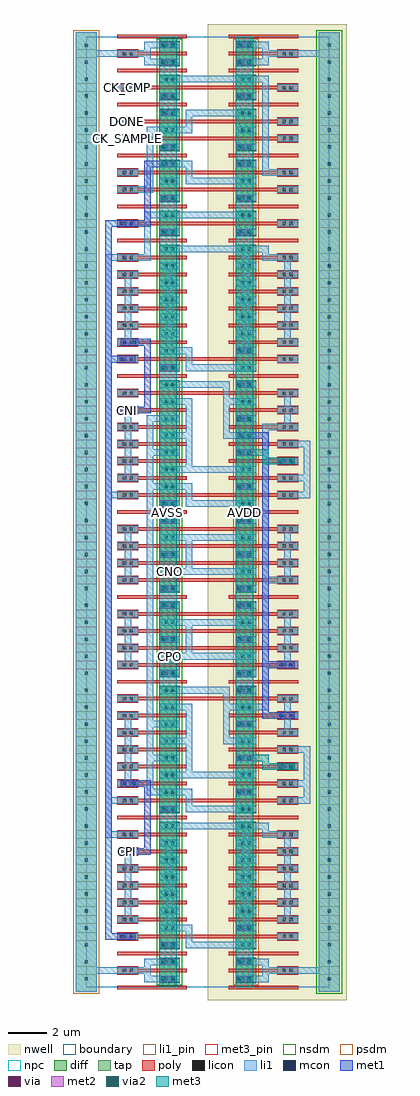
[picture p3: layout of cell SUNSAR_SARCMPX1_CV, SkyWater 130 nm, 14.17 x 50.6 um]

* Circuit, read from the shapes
.subckt SUNSAR_SARCMPX1_CV AVDD AVSS CK_CMP CK_SAMPLE CNI CNO CPI CPO DONE
XM1 AVSS AVSS AVSS AVSS sky130_fd_pr__nfet_01v8 w=1.08 l=0.18 m=2
XM2 SUNSAR_SARKICKHX1_CV_22/SUNSAR_NCHDL_10/D SUNSAR_IVX1_CV_16/A AVSS AVSS sky130_fd_pr__nfet_01v8 w=1.08 l=0.18
XM3 SUNSAR_SARKICKHX1_CV_22/SUNSAR_NCHDL_10/D CPI SUNSAR_SARKICKHX1_CV_22/SUNSAR_NCHDL_10/D AVSS sky130_fd_pr__nfet_01v8 w=1.08 l=0.18 m=5
XM4 AVDD SUNSAR_SARCMPHX1_CV_19/CK SUNSAR_SARKICKHX1_CV_22/SUNSAR_NCHDL_10/D AVSS sky130_fd_pr__nfet_01v8 w=1.08 l=0.18
XM5 SUNSAR_SARCMPHX1_CV_19/N1 SUNSAR_SARCMPHX1_CV_19/CK AVSS AVSS sky130_fd_pr__nfet_01v8 w=1.08 l=0.18 m=2
XM6 SUNSAR_SARCMPHX1_CV_21/N2 CPI SUNSAR_SARCMPHX1_CV_19/N1 AVSS sky130_fd_pr__nfet_01v8 w=1.08 l=0.18 m=5
XM7 SUNSAR_IVX4_CV_18/A SUNSAR_IVX4_CV_20/A SUNSAR_SARCMPHX1_CV_21/N2 AVSS sky130_fd_pr__nfet_01v8 w=1.08 l=0.18
XM8 CPO SUNSAR_IVX4_CV_20/A AVSS AVSS sky130_fd_pr__nfet_01v8 w=1.08 l=0.18 m=4
XM9 CNO SUNSAR_IVX4_CV_18/A AVSS AVSS sky130_fd_pr__nfet_01v8 w=1.08 l=0.18 m=4
XM10 SUNSAR_SARCMPHX1_CV_19/N2 CNI SUNSAR_SARCMPHX1_CV_19/N1 AVSS sky130_fd_pr__nfet_01v8 w=1.08 l=0.18 m=5
XM11 SUNSAR_IVX4_CV_20/A SUNSAR_IVX4_CV_18/A SUNSAR_SARCMPHX1_CV_19/N2 AVSS sky130_fd_pr__nfet_01v8 w=1.08 l=0.18
XM12 SUNSAR_SARKICKHX1_CV_17/SUNSAR_NCHDL_10/D SUNSAR_IVX1_CV_16/A AVSS AVSS sky130_fd_pr__nfet_01v8 w=1.08 l=0.18
XM13 SUNSAR_SARKICKHX1_CV_17/SUNSAR_NCHDL_10/D CNI SUNSAR_SARKICKHX1_CV_17/SUNSAR_NCHDL_10/D AVSS sky130_fd_pr__nfet_01v8 w=1.08 l=0.18 m=5
XM14 AVDD SUNSAR_SARCMPHX1_CV_19/CK SUNSAR_SARKICKHX1_CV_17/SUNSAR_NCHDL_10/D AVSS sky130_fd_pr__nfet_01v8 w=1.08 l=0.18
XM15 SUNSAR_SARCMPHX1_CV_19/CK SUNSAR_IVX1_CV_16/A AVSS AVSS sky130_fd_pr__nfet_01v8 w=1.08 l=0.18
XM16 SUNSAR_NDX1_CV_15/SUNSAR_NCHDL_6/D SUNSAR_NDX1_CV_15/A AVSS AVSS sky130_fd_pr__nfet_01v8 w=1.08 l=0.18
XM17 SUNSAR_IVX1_CV_16/A SUNSAR_NDX1_CV_15/B SUNSAR_NDX1_CV_15/SUNSAR_NCHDL_6/D AVSS sky130_fd_pr__nfet_01v8 w=1.08 l=0.18
XM18 SUNSAR_NDX1_CV_15/A CK_SAMPLE AVSS AVSS sky130_fd_pr__nfet_01v8 w=1.08 l=0.18
XM19 AVSS DONE SUNSAR_NDX1_CV_15/A AVSS sky130_fd_pr__nfet_01v8 w=1.08 l=0.18
XM20 SUNSAR_NDX1_CV_15/B CK_CMP AVSS AVSS sky130_fd_pr__nfet_01v8 w=1.08 l=0.18
XM21 AVDD AVDD AVDD AVDD sky130_fd_pr__pfet_01v8 w=1.08 l=0.18 m=14
XM22 AVDD SUNSAR_IVX1_CV_16/A SUNSAR_SARKICKHX1_CV_22/SUNSAR_NCHDL_10/D AVDD sky130_fd_pr__pfet_01v8 w=1.08 l=0.18
XM23 AVDD SUNSAR_SARCMPHX1_CV_19/CK SUNSAR_SARCMPHX1_CV_19/N1 AVDD sky130_fd_pr__pfet_01v8 w=1.08 l=0.18 m=2
XM24 SUNSAR_SARCMPHX1_CV_21/N2 SUNSAR_SARCMPHX1_CV_19/CK AVDD AVDD sky130_fd_pr__pfet_01v8 w=1.08 l=0.18
XM25 AVDD AVDD SUNSAR_SARCMPHX1_CV_21/N2 AVDD sky130_fd_pr__pfet_01v8 w=1.08 l=0.18
XM26 SUNSAR_IVX4_CV_18/A SUNSAR_SARCMPHX1_CV_19/CK AVDD AVDD sky130_fd_pr__pfet_01v8 w=1.08 l=0.18
XM27 AVDD SUNSAR_IVX4_CV_20/A SUNSAR_IVX4_CV_18/A AVDD sky130_fd_pr__pfet_01v8 w=1.08 l=0.18 m=3
XM28 CPO SUNSAR_IVX4_CV_20/A AVDD AVDD sky130_fd_pr__pfet_01v8 w=1.08 l=0.18 m=4
XM29 CNO SUNSAR_IVX4_CV_18/A AVDD AVDD sky130_fd_pr__pfet_01v8 w=1.08 l=0.18 m=4
XM30 SUNSAR_SARCMPHX1_CV_19/N2 SUNSAR_SARCMPHX1_CV_19/CK AVDD AVDD sky130_fd_pr__pfet_01v8 w=1.08 l=0.18
XM31 AVDD AVDD SUNSAR_SARCMPHX1_CV_19/N2 AVDD sky130_fd_pr__pfet_01v8 w=1.08 l=0.18
XM32 SUNSAR_IVX4_CV_20/A SUNSAR_SARCMPHX1_CV_19/CK AVDD AVDD sky130_fd_pr__pfet_01v8 w=1.08 l=0.18
XM33 AVDD SUNSAR_IVX4_CV_18/A SUNSAR_IVX4_CV_20/A AVDD sky130_fd_pr__pfet_01v8 w=1.08 l=0.18 m=3
XM34 AVDD SUNSAR_IVX1_CV_16/A SUNSAR_SARKICKHX1_CV_17/SUNSAR_NCHDL_10/D AVDD sky130_fd_pr__pfet_01v8 w=1.08 l=0.18
XM35 SUNSAR_SARCMPHX1_CV_19/CK SUNSAR_IVX1_CV_16/A AVDD AVDD sky130_fd_pr__pfet_01v8 w=1.08 l=0.18
XM36 SUNSAR_IVX1_CV_16/A SUNSAR_NDX1_CV_15/A AVDD AVDD sky130_fd_pr__pfet_01v8 w=1.08 l=0.18
XM37 AVDD SUNSAR_NDX1_CV_15/B SUNSAR_IVX1_CV_16/A AVDD sky130_fd_pr__pfet_01v8 w=1.08 l=0.18
XM38 SUNSAR_NRX1_CV_14/SUNSAR_PCHDL_4/D CK_SAMPLE AVDD AVDD sky130_fd_pr__pfet_01v8 w=1.08 l=0.18
XM39 SUNSAR_NDX1_CV_15/A DONE SUNSAR_NRX1_CV_14/SUNSAR_PCHDL_4/D AVDD sky130_fd_pr__pfet_01v8 w=1.08 l=0.18
XM40 SUNSAR_NDX1_CV_15/B CK_CMP AVDD AVDD sky130_fd_pr__pfet_01v8 w=1.08 l=0.18
.ends

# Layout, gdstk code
import gdstk
lib = gdstk.Library(unit=1e-6, precision=1e-09)
def R(c, l, rs):  # rectangles x0, y0, x1, y1
    for r in rs: c.add(gdstk.rectangle(r[:2], r[2:], *l))
def A(c, l, x, y, w, h, nx, ny, dx, dy):  # array of equal rectangles
    R(c, l, [(x+i*dx, y+j*dy, x+i*dx+w, y+j*dy+h) for i in range(nx) for j in range(ny)])
nwell = (64, 20)
diff = (65, 20)
tap = (65, 44)
poly = (66, 20)
licon = (66, 44)
li1_pin = (67, 16)
li1 = (67, 20)
mcon = (67, 44)
met1 = (68, 20)
via = (68, 44)
met2 = (69, 20)
via2 = (69, 44)
met3_pin = (70, 16)
met3 = (70, 20)
nsdm = (93, 44)
psdm = (94, 20)
npc = (95, 20)
boundary = (235, 4)

sunsar_cut_m1m2_2x1 = lib.new_cell('SUNSAR_cut_M1M2_2x1')
R(sunsar_cut_m1m2_2x1, li1, [(0,0,0.92,0.34)])
R(sunsar_cut_m1m2_2x1, mcon, [(0.115,0.085,0.285,0.255), (0.635,0.085,0.805,0.255)])
R(sunsar_cut_m1m2_2x1, met1, [(0,0,0.92,0.34)])
R(sunsar_cut_m1m2_2x1, boundary, [(0,0,0.92,0.34)])

sunsar_cut_m1m4_2x1 = lib.new_cell('SUNSAR_cut_M1M4_2x1')
R(sunsar_cut_m1m4_2x1, li1, [(0,0,0.92,0.34)])
R(sunsar_cut_m1m4_2x1, mcon, [(0.115,0.085,0.285,0.255), (0.635,0.085,0.805,0.255)])
R(sunsar_cut_m1m4_2x1, met1, [(0,0,0.92,0.34)])
R(sunsar_cut_m1m4_2x1, via, [(0.125,0.095,0.275,0.245), (0.645,0.095,0.795,0.245)])
R(sunsar_cut_m1m4_2x1, met2, [(0,0,0.92,0.34)])
R(sunsar_cut_m1m4_2x1, via2, [(0.1,0.07,0.3,0.27), (0.62,0.07,0.82,0.27)])
R(sunsar_cut_m1m4_2x1, met3, [(0,0,0.92,0.34)])
R(sunsar_cut_m1m4_2x1, boundary, [(0,0,0.92,0.34)])

sunsar_pchdl = lib.new_cell('SUNSAR_PCHDL')
R(sunsar_pchdl, nwell, [(0,-0.66,7.2,2.42)])
R(sunsar_pchdl, diff, [(1.44,0.22,2.52,1.54)])
R(sunsar_pchdl, tap, [(5.76,-0.22,6.84,1.98)])
A(sunsar_pchdl, poly, 1.08, -0.09, 3.6, 0.18, 1, 3, 0, 0.88)
R(sunsar_pchdl, poly, [(3.6,0.66,4.68,0.79), (3.6,0.97,4.68,1.1)])
R(sunsar_pchdl, licon, [(1.725,0.355,1.895,0.525), (2.065,0.355,2.235,0.525), (6.215,0.355,6.385,0.525), (3.885,0.795,4.055,0.965), (4.225,0.795,4.395,0.965), (1.725,1.235,1.895,1.405), (2.065,1.235,2.235,1.405), (6.215,1.235,6.385,1.405)])
R(sunsar_pchdl, li1_pin, [(1.44,0.27,2.52,0.61), (5.76,0.66,6.84,1.1), (3.6,0.71,4.68,1.05), (1.44,1.15,2.52,1.49)])
R(sunsar_pchdl, li1, [(5.76,-0.22,6.84,1.98), (1.44,0.27,2.52,0.61), (3.6,0.71,4.68,1.05), (1.44,1.15,2.52,1.49)])
R(sunsar_pchdl, nsdm, [(5.635,-0.345,6.965,2.105)])
R(sunsar_pchdl, psdm, [(1.315,0.095,2.645,1.665)])
R(sunsar_pchdl, npc, [(3.785,0.695,4.495,1.065)])
R(sunsar_pchdl, boundary, [(0,0,6.3,1.76)])
sunsar_pchdl.add(gdstk.Label('D', (1.98,1.32), layer=67, texttype=5))
sunsar_pchdl.add(gdstk.Label('G', (4.14,0.88), layer=67, texttype=5))
sunsar_pchdl.add(gdstk.Label('S', (1.98,0.44), layer=67, texttype=5))
sunsar_pchdl.add(gdstk.Label('B', (6.3,0.88), layer=67, texttype=5))

sunsar_nchdl = lib.new_cell('SUNSAR_NCHDL')
R(sunsar_nchdl, diff, [(3.78,0.22,4.86,1.54)])
R(sunsar_nchdl, tap, [(-0.54,-0.22,0.54,1.98)])
A(sunsar_nchdl, poly, 1.62, -0.09, 3.6, 0.18, 1, 3, 0, 0.88)
R(sunsar_nchdl, poly, [(1.62,0.66,2.7,0.79), (1.62,0.97,2.7,1.1)])
R(sunsar_nchdl, licon, [(-0.085,0.355,0.085,0.525), (4.065,0.355,4.235,0.525), (4.405,0.355,4.575,0.525), (1.905,0.795,2.075,0.965), (2.245,0.795,2.415,0.965), (-0.085,1.235,0.085,1.405), (4.065,1.235,4.235,1.405), (4.405,1.235,4.575,1.405)])
R(sunsar_nchdl, li1_pin, [(3.78,0.27,4.86,0.61), (-0.54,0.66,0.54,1.1), (1.62,0.71,2.7,1.05), (3.78,1.15,4.86,1.49)])
R(sunsar_nchdl, li1, [(-0.54,-0.22,0.54,1.98), (3.78,0.27,4.86,0.61), (1.62,0.71,2.7,1.05), (3.78,1.15,4.86,1.49)])
R(sunsar_nchdl, nsdm, [(3.655,0.095,4.985,1.665)])
R(sunsar_nchdl, psdm, [(-0.665,-0.345,0.665,2.105)])
R(sunsar_nchdl, npc, [(1.805,0.695,2.515,1.065)])
R(sunsar_nchdl, boundary, [(0,0,6.3,1.76)])
sunsar_nchdl.add(gdstk.Label('D', (4.32,1.32), layer=67, texttype=5))
sunsar_nchdl.add(gdstk.Label('G', (2.16,0.88), layer=67, texttype=5))
sunsar_nchdl.add(gdstk.Label('S', (4.32,0.44), layer=67, texttype=5))
sunsar_nchdl.add(gdstk.Label('B', (0,0.88), layer=67, texttype=5))

sunsar_tapcellb_cv = lib.new_cell('SUNSAR_TAPCELLB_CV')
R(sunsar_tapcellb_cv, li1, [(3,0.27,4.32,0.61), (8.28,0.27,9.46,0.61), (3,0.61,3.34,0.71), (9.12,0.61,9.46,0.71), (-0.54,0.71,3.34,1.05), (9.12,0.71,13.14,1.05), (3,1.05,3.34,1.15), (9.12,1.05,9.46,1.15), (3,1.15,4.32,1.49), (8.28,1.15,9.46,1.49)])
R(sunsar_tapcellb_cv, met3_pin, [(3.78,0,4.7,1.76), (7.74,0,8.66,1.76)])
R(sunsar_tapcellb_cv, met3, [(3.78,0,4.7,1.76), (7.74,0,8.66,1.76)])
R(sunsar_tapcellb_cv, boundary, [(0,0,12.6,1.76)])
sunsar_tapcellb_cv.add(gdstk.Reference(sunsar_cut_m1m4_2x1, (3.78,0.27)))
sunsar_tapcellb_cv.add(gdstk.Reference(sunsar_cut_m1m4_2x1, (3.78,1.15)))
sunsar_tapcellb_cv.add(gdstk.Reference(sunsar_cut_m1m4_2x1, (7.74,0.27)))
sunsar_tapcellb_cv.add(gdstk.Reference(sunsar_cut_m1m4_2x1, (7.74,1.15)))
sunsar_tapcellb_cv.add(gdstk.Reference(sunsar_pchdl, (6.3,0)))
sunsar_tapcellb_cv.add(gdstk.Reference(sunsar_nchdl, (0,0)))
sunsar_tapcellb_cv.add(gdstk.Label('AVDD', (8.2,0.88), layer=70, texttype=5))
sunsar_tapcellb_cv.add(gdstk.Label('AVSS', (4.24,0.88), layer=70, texttype=5))

sunsar_ivx1_cv = lib.new_cell('SUNSAR_IVX1_CV')
R(sunsar_ivx1_cv, poly, [(1.62,0.79,10.98,0.97)])
R(sunsar_ivx1_cv, li1_pin, [(-0.54,0.66,0.54,1.1), (12.06,0.66,13.14,1.1), (1.62,0.71,2.7,1.05), (3.78,1.15,4.86,1.49)])
R(sunsar_ivx1_cv, li1, [(-0.54,0.66,0.54,1.1), (12.06,0.66,13.14,1.1), (1.62,0.71,2.7,1.05), (3.78,1.15,8.28,1.49)])
R(sunsar_ivx1_cv, met3_pin, [(3.78,0,4.7,1.76), (7.74,0,8.66,1.76)])
R(sunsar_ivx1_cv, met3, [(3.78,0,4.7,1.76), (7.74,0,8.66,1.76)])
R(sunsar_ivx1_cv, boundary, [(0,0,12.6,1.76)])
sunsar_ivx1_cv.add(gdstk.Reference(sunsar_cut_m1m4_2x1, (3.78,0.27)))
sunsar_ivx1_cv.add(gdstk.Reference(sunsar_cut_m1m4_2x1, (7.74,0.27)))
sunsar_ivx1_cv.add(gdstk.Reference(sunsar_pchdl, (6.3,0)))
sunsar_ivx1_cv.add(gdstk.Reference(sunsar_nchdl, (0,0)))
sunsar_ivx1_cv.add(gdstk.Label('A', (2.16,0.88), layer=67, texttype=5))
sunsar_ivx1_cv.add(gdstk.Label('Y', (4.32,1.32), layer=67, texttype=5))
sunsar_ivx1_cv.add(gdstk.Label('BULKP', (12.6,0.88), layer=67, texttype=5))
sunsar_ivx1_cv.add(gdstk.Label('BULKN', (0,0.88), layer=67, texttype=5))
sunsar_ivx1_cv.add(gdstk.Label('AVDD', (8.2,0.88), layer=70, texttype=5))
sunsar_ivx1_cv.add(gdstk.Label('AVSS', (4.24,0.88), layer=70, texttype=5))

sunsar_nrx1_cv = lib.new_cell('SUNSAR_NRX1_CV')
R(sunsar_nrx1_cv, poly, [(1.62,0.79,10.98,0.97), (1.62,1.67,10.98,1.85)])
R(sunsar_nrx1_cv, li1_pin, [(-0.54,0.66,0.54,1.1), (12.06,0.66,13.14,1.1), (1.62,0.71,2.7,1.05), (3.78,1.15,4.86,1.49), (1.62,1.59,2.7,1.93)])
R(sunsar_nrx1_cv, li1, [(-0.54,0.66,0.54,1.1), (12.06,0.66,13.14,1.1), (1.62,0.71,2.7,1.05), (3.78,1.15,5.5,1.49), (8.11,1.15,8.45,1.49), (5.16,1.49,5.5,2.03), (1.62,1.59,2.7,1.93), (5.16,2.03,8.28,2.37)])
R(sunsar_nrx1_cv, met3_pin, [(3.78,0,4.7,2.64), (7.74,0,8.66,2.64)])
R(sunsar_nrx1_cv, met3, [(3.78,0,4.7,2.64), (7.74,0,8.66,2.64)])
R(sunsar_nrx1_cv, boundary, [(0,0,12.6,2.64)])
sunsar_nrx1_cv.add(gdstk.Reference(sunsar_cut_m1m4_2x1, (3.78,2.03)))
sunsar_nrx1_cv.add(gdstk.Reference(sunsar_cut_m1m4_2x1, (3.78,0.27)))
sunsar_nrx1_cv.add(gdstk.Reference(sunsar_cut_m1m4_2x1, (7.74,0.27)))
sunsar_nrx1_cv.add(gdstk.Reference(sunsar_pchdl, (6.3,0.88)))
sunsar_nrx1_cv.add(gdstk.Reference(sunsar_pchdl, (6.3,0)))
sunsar_nrx1_cv.add(gdstk.Reference(sunsar_nchdl, (0,0.88)))
sunsar_nrx1_cv.add(gdstk.Reference(sunsar_nchdl, (0,0)))
sunsar_nrx1_cv.add(gdstk.Label('A', (2.16,0.88), layer=67, texttype=5))
sunsar_nrx1_cv.add(gdstk.Label('B', (2.16,1.76), layer=67, texttype=5))
sunsar_nrx1_cv.add(gdstk.Label('Y', (4.32,1.32), layer=67, texttype=5))
sunsar_nrx1_cv.add(gdstk.Label('BULKP', (12.6,0.88), layer=67, texttype=5))
sunsar_nrx1_cv.add(gdstk.Label('BULKN', (0,0.88), layer=67, texttype=5))
sunsar_nrx1_cv.add(gdstk.Label('AVDD', (8.2,1.32), layer=70, texttype=5))
sunsar_nrx1_cv.add(gdstk.Label('AVSS', (4.24,1.32), layer=70, texttype=5))

sunsar_ndx1_cv = lib.new_cell('SUNSAR_NDX1_CV')
R(sunsar_ndx1_cv, poly, [(1.62,0.79,10.98,0.97), (1.62,1.67,10.98,1.85)])
R(sunsar_ndx1_cv, li1_pin, [(-0.54,0.66,0.54,1.1), (12.06,0.66,13.14,1.1), (1.62,0.71,2.7,1.05), (1.62,1.59,2.7,1.93), (3.78,2.03,4.86,2.37)])
R(sunsar_ndx1_cv, li1, [(-0.54,0.66,0.54,1.1), (12.06,0.66,13.14,1.1), (1.62,0.71,2.7,1.05), (4.15,1.15,4.49,1.49), (5.16,1.15,8.28,1.49), (5.16,1.49,5.5,2.03), (1.62,1.59,2.7,1.93), (3.78,2.03,5.5,2.37)])
R(sunsar_ndx1_cv, met3_pin, [(3.78,0,4.7,2.64), (7.74,0,8.66,2.64)])
R(sunsar_ndx1_cv, met3, [(3.78,0,4.7,2.64), (7.74,0,8.66,2.64)])
R(sunsar_ndx1_cv, boundary, [(0,0,12.6,2.64)])
sunsar_ndx1_cv.add(gdstk.Reference(sunsar_cut_m1m4_2x1, (3.78,0.27)))
sunsar_ndx1_cv.add(gdstk.Reference(sunsar_cut_m1m4_2x1, (7.74,2.03)))
sunsar_ndx1_cv.add(gdstk.Reference(sunsar_cut_m1m4_2x1, (7.74,0.27)))
sunsar_ndx1_cv.add(gdstk.Reference(sunsar_pchdl, (6.3,0.88)))
sunsar_ndx1_cv.add(gdstk.Reference(sunsar_pchdl, (6.3,0)))
sunsar_ndx1_cv.add(gdstk.Reference(sunsar_nchdl, (0,0.88)))
sunsar_ndx1_cv.add(gdstk.Reference(sunsar_nchdl, (0,0)))
sunsar_ndx1_cv.add(gdstk.Label('A', (2.16,0.88), layer=67, texttype=5))
sunsar_ndx1_cv.add(gdstk.Label('B', (2.16,1.76), layer=67, texttype=5))
sunsar_ndx1_cv.add(gdstk.Label('Y', (4.32,2.2), layer=67, texttype=5))
sunsar_ndx1_cv.add(gdstk.Label('BULKP', (12.6,0.88), layer=67, texttype=5))
sunsar_ndx1_cv.add(gdstk.Label('BULKN', (0,0.88), layer=67, texttype=5))
sunsar_ndx1_cv.add(gdstk.Label('AVDD', (8.2,1.32), layer=70, texttype=5))
sunsar_ndx1_cv.add(gdstk.Label('AVSS', (4.24,1.32), layer=70, texttype=5))

sunsar_sarkickhx1_cv = lib.new_cell('SUNSAR_SARKICKHX1_CV')
R(sunsar_sarkickhx1_cv, poly, [(1.62,0.79,10.98,0.97)])
R(sunsar_sarkickhx1_cv, li1_pin, [(-0.54,0.66,0.54,1.1), (12.06,0.66,13.14,1.1), (1.62,0.71,2.7,1.05), (1.62,1.59,2.7,1.93), (1.62,5.99,2.7,6.33)])
R(sunsar_sarkickhx1_cv, li1, [(5.16,0.27,8.28,0.61), (5.16,0.61,5.5,1.15), (-0.54,0.66,0.54,1.1), (12.06,0.66,13.14,1.1), (1.62,0.71,2.7,1.05), (4.15,1.15,5.5,1.49), (8.11,1.15,8.45,6.43), (4.15,1.49,4.49,5.89), (1.62,1.59,2.7,1.93), (10.27,1.59,10.61,5.99), (1.99,1.93,2.33,5.45), (1.62,5.99,2.7,6.33), (9.12,5.99,10.61,6.33), (9.12,6.33,9.46,6.43), (3.78,6.43,9.46,6.77)])
R(sunsar_sarkickhx1_cv, met3_pin, [(3.78,0,4.7,7.04), (7.74,0,8.66,7.04)])
R(sunsar_sarkickhx1_cv, met3, [(3.78,0,4.7,7.04), (7.74,0,8.66,7.04)])
R(sunsar_sarkickhx1_cv, boundary, [(0,0,12.6,7.04)])
sunsar_sarkickhx1_cv.add(gdstk.Reference(sunsar_cut_m1m4_2x1, (3.78,0.27)))
sunsar_sarkickhx1_cv.add(gdstk.Reference(sunsar_cut_m1m4_2x1, (7.74,1.15)))
sunsar_sarkickhx1_cv.add(gdstk.Reference(sunsar_pchdl, (6.3,5.28)))
sunsar_sarkickhx1_cv.add(gdstk.Reference(sunsar_pchdl, (6.3,4.4)))
sunsar_sarkickhx1_cv.add(gdstk.Reference(sunsar_pchdl, (6.3,3.52)))
sunsar_sarkickhx1_cv.add(gdstk.Reference(sunsar_pchdl, (6.3,2.64)))
sunsar_sarkickhx1_cv.add(gdstk.Reference(sunsar_pchdl, (6.3,1.76)))
sunsar_sarkickhx1_cv.add(gdstk.Reference(sunsar_pchdl, (6.3,0.88)))
sunsar_sarkickhx1_cv.add(gdstk.Reference(sunsar_pchdl, (6.3,0)))
sunsar_sarkickhx1_cv.add(gdstk.Reference(sunsar_nchdl, (0,5.28)))
sunsar_sarkickhx1_cv.add(gdstk.Reference(sunsar_nchdl, (0,4.4)))
sunsar_sarkickhx1_cv.add(gdstk.Reference(sunsar_nchdl, (0,3.52)))
sunsar_sarkickhx1_cv.add(gdstk.Reference(sunsar_nchdl, (0,2.64)))
sunsar_sarkickhx1_cv.add(gdstk.Reference(sunsar_nchdl, (0,1.76)))
sunsar_sarkickhx1_cv.add(gdstk.Reference(sunsar_nchdl, (0,0.88)))
sunsar_sarkickhx1_cv.add(gdstk.Reference(sunsar_nchdl, (0,0)))
sunsar_sarkickhx1_cv.add(gdstk.Label('CI', (2.16,1.76), layer=67, texttype=5))
sunsar_sarkickhx1_cv.add(gdstk.Label('CK', (2.16,6.16), layer=67, texttype=5))
sunsar_sarkickhx1_cv.add(gdstk.Label('CKN', (2.16,0.88), layer=67, texttype=5))
sunsar_sarkickhx1_cv.add(gdstk.Label('BULKP', (12.6,0.88), layer=67, texttype=5))
sunsar_sarkickhx1_cv.add(gdstk.Label('BULKN', (0,0.88), layer=67, texttype=5))
sunsar_sarkickhx1_cv.add(gdstk.Label('AVDD', (8.2,3.52), layer=70, texttype=5))
sunsar_sarkickhx1_cv.add(gdstk.Label('AVSS', (4.24,3.52), layer=70, texttype=5))

sunsar_ivx4_cv = lib.new_cell('SUNSAR_IVX4_CV')
A(sunsar_ivx4_cv, poly, 1.62, 0.79, 9.36, 0.18, 1, 4, 0, 0.88)
R(sunsar_ivx4_cv, li1_pin, [(-0.54,0.66,0.54,1.1), (12.06,0.66,13.14,1.1), (1.62,0.71,2.7,1.05), (3.78,1.15,4.86,1.49)])
R(sunsar_ivx4_cv, li1, [(-0.54,0.66,0.54,1.1), (12.06,0.66,13.14,1.1), (1.62,0.71,2.7,1.05), (10.27,0.71,10.61,3.69), (1.99,1.05,2.33,3.69), (3.78,1.15,8.28,1.49), (5.16,1.49,5.5,2.91), (4.32,2.91,8.28,3.25)])
R(sunsar_ivx4_cv, met3_pin, [(3.78,0,4.7,4.4), (7.74,0,8.66,4.4)])
R(sunsar_ivx4_cv, met3, [(3.78,0,4.7,4.4), (7.74,0,8.66,4.4)])
R(sunsar_ivx4_cv, boundary, [(0,0,12.6,4.4)])
sunsar_ivx4_cv.add(gdstk.Reference(sunsar_cut_m1m4_2x1, (3.78,3.79)))
sunsar_ivx4_cv.add(gdstk.Reference(sunsar_cut_m1m4_2x1, (3.78,2.03)))
sunsar_ivx4_cv.add(gdstk.Reference(sunsar_cut_m1m4_2x1, (3.78,2.03)))
sunsar_ivx4_cv.add(gdstk.Reference(sunsar_cut_m1m4_2x1, (3.78,0.27)))
sunsar_ivx4_cv.add(gdstk.Reference(sunsar_cut_m1m4_2x1, (7.74,3.79)))
sunsar_ivx4_cv.add(gdstk.Reference(sunsar_cut_m1m4_2x1, (7.74,2.03)))
sunsar_ivx4_cv.add(gdstk.Reference(sunsar_cut_m1m4_2x1, (7.74,2.03)))
sunsar_ivx4_cv.add(gdstk.Reference(sunsar_cut_m1m4_2x1, (7.74,0.27)))
sunsar_ivx4_cv.add(gdstk.Reference(sunsar_pchdl, (6.3,2.64)))
sunsar_ivx4_cv.add(gdstk.Reference(sunsar_pchdl, (6.3,1.76)))
sunsar_ivx4_cv.add(gdstk.Reference(sunsar_pchdl, (6.3,0.88)))
sunsar_ivx4_cv.add(gdstk.Reference(sunsar_pchdl, (6.3,0)))
sunsar_ivx4_cv.add(gdstk.Reference(sunsar_nchdl, (0,2.64)))
sunsar_ivx4_cv.add(gdstk.Reference(sunsar_nchdl, (0,1.76)))
sunsar_ivx4_cv.add(gdstk.Reference(sunsar_nchdl, (0,0.88)))
sunsar_ivx4_cv.add(gdstk.Reference(sunsar_nchdl, (0,0)))
sunsar_ivx4_cv.add(gdstk.Label('A', (2.16,0.88), layer=67, texttype=5))
sunsar_ivx4_cv.add(gdstk.Label('Y', (4.32,1.32), layer=67, texttype=5))
sunsar_ivx4_cv.add(gdstk.Label('BULKP', (12.6,0.88), layer=67, texttype=5))
sunsar_ivx4_cv.add(gdstk.Label('BULKN', (0,0.88), layer=67, texttype=5))
sunsar_ivx4_cv.add(gdstk.Label('AVDD', (8.2,2.2), layer=70, texttype=5))
sunsar_ivx4_cv.add(gdstk.Label('AVSS', (4.24,2.2), layer=70, texttype=5))

sunsar_sarcmphx1_cv = lib.new_cell('SUNSAR_SARCMPHX1_CV')
R(sunsar_sarcmphx1_cv, poly, [(1.62,0.79,10.98,0.97), (1.62,6.07,10.98,6.25)])
A(sunsar_sarcmphx1_cv, li1_pin, 3.78, 4.67, 1.08, 0.34, 1, 3, 0, 0.88)
R(sunsar_sarcmphx1_cv, li1_pin, [(-0.54,0.66,0.54,1.1), (12.06,0.66,13.14,1.1), (1.62,0.71,2.7,1.05), (1.62,1.59,2.7,1.93), (1.62,5.99,2.7,6.33)])
A(sunsar_sarcmphx1_cv, li1, 8.11, 1.15, 0.34, 0.34, 1, 3, 0, 1.76)
R(sunsar_sarcmphx1_cv, li1, [(5.16,0.27,8.28,0.61), (5.16,0.61,5.5,1.15), (-0.54,0.66,0.54,1.1), (12.06,0.66,13.14,1.1), (1.62,0.71,2.7,1.05), (10.44,0.71,11.62,1.05), (11.28,1.05,11.62,1.59), (3.14,1.15,5.5,1.49), (3.14,1.49,3.48,2.91), (1.62,1.59,2.7,1.93), (10.44,1.59,11.62,1.93), (1.99,1.93,2.33,5.45), (11.28,1.93,11.62,3.35), (4.15,2.03,8.45,2.37), (5.16,2.37,5.5,3.79), (3.14,2.91,4.49,3.25), (3.14,3.25,3.48,4.67), (10.44,3.35,11.62,3.69), (4.15,3.79,5.5,4.13), (7.1,3.79,8.45,4.13), (5.16,4.13,5.5,5.55), (7.1,4.13,7.44,5.55), (10.27,4.23,10.61,6.33), (3.14,4.67,4.86,5.01), (3.78,5.55,5.5,5.89), (7.1,5.55,8.45,5.89), (7.1,5.89,7.44,6.43), (1.62,5.99,2.7,6.33), (3.78,6.43,7.44,6.77)])
R(sunsar_sarcmphx1_cv, met3_pin, [(3.78,0,4.7,7.04), (7.74,0,8.66,7.04)])
R(sunsar_sarcmphx1_cv, met3, [(3.78,0,4.7,7.04), (7.74,0,8.66,2.91), (9.12,2.47,10.44,2.81), (9.12,2.81,9.46,2.91), (7.74,2.91,9.46,3.25), (7.74,3.25,8.66,7.04)])
R(sunsar_sarcmphx1_cv, boundary, [(0,0,12.6,7.04)])
sunsar_sarcmphx1_cv.add(gdstk.Reference(sunsar_cut_m1m4_2x1, (3.78,0.27)))
sunsar_sarcmphx1_cv.add(gdstk.Reference(sunsar_cut_m1m4_2x1, (7.74,6.43)))
sunsar_sarcmphx1_cv.add(gdstk.Reference(sunsar_cut_m1m4_2x1, (7.74,4.67)))
sunsar_sarcmphx1_cv.add(gdstk.Reference(sunsar_cut_m1m4_2x1, (7.74,4.67)))
sunsar_sarcmphx1_cv.add(gdstk.Reference(sunsar_cut_m1m4_2x1, (7.74,2.91)))
sunsar_sarcmphx1_cv.add(gdstk.Reference(sunsar_cut_m1m4_2x1, (7.74,2.91)))
sunsar_sarcmphx1_cv.add(gdstk.Reference(sunsar_cut_m1m4_2x1, (7.74,1.15)))
sunsar_sarcmphx1_cv.add(gdstk.Reference(sunsar_cut_m1m4_2x1, (7.74,1.15)))
sunsar_sarcmphx1_cv.add(gdstk.Reference(sunsar_cut_m1m4_2x1, (9.9,2.47)))
sunsar_sarcmphx1_cv.add(gdstk.Reference(sunsar_cut_m1m4_2x1, (7.74,2.91)))
sunsar_sarcmphx1_cv.add(gdstk.Reference(sunsar_pchdl, (6.3,5.28)))
sunsar_sarcmphx1_cv.add(gdstk.Reference(sunsar_pchdl, (6.3,4.4)))
sunsar_sarcmphx1_cv.add(gdstk.Reference(sunsar_pchdl, (6.3,3.52)))
sunsar_sarcmphx1_cv.add(gdstk.Reference(sunsar_pchdl, (6.3,2.64)))
sunsar_sarcmphx1_cv.add(gdstk.Reference(sunsar_pchdl, (6.3,1.76)))
sunsar_sarcmphx1_cv.add(gdstk.Reference(sunsar_pchdl, (6.3,0.88)))
sunsar_sarcmphx1_cv.add(gdstk.Reference(sunsar_pchdl, (6.3,0)))
sunsar_sarcmphx1_cv.add(gdstk.Reference(sunsar_nchdl, (0,5.28)))
sunsar_sarcmphx1_cv.add(gdstk.Reference(sunsar_nchdl, (0,4.4)))
sunsar_sarcmphx1_cv.add(gdstk.Reference(sunsar_nchdl, (0,3.52)))
sunsar_sarcmphx1_cv.add(gdstk.Reference(sunsar_nchdl, (0,2.64)))
sunsar_sarcmphx1_cv.add(gdstk.Reference(sunsar_nchdl, (0,1.76)))
sunsar_sarcmphx1_cv.add(gdstk.Reference(sunsar_nchdl, (0,0.88)))
sunsar_sarcmphx1_cv.add(gdstk.Reference(sunsar_nchdl, (0,0)))
sunsar_sarcmphx1_cv.add(gdstk.Label('CI', (2.16,1.76), layer=67, texttype=5))
sunsar_sarcmphx1_cv.add(gdstk.Label('CK', (2.16,0.88), layer=67, texttype=5))
sunsar_sarcmphx1_cv.add(gdstk.Label('CO', (4.32,6.6), layer=67, texttype=5))
sunsar_sarcmphx1_cv.add(gdstk.Label('VMR', (2.16,6.16), layer=67, texttype=5))
sunsar_sarcmphx1_cv.add(gdstk.Label('N1', (4.32,4.84), layer=67, texttype=5))
sunsar_sarcmphx1_cv.add(gdstk.Label('N2', (4.32,5.72), layer=67, texttype=5))
sunsar_sarcmphx1_cv.add(gdstk.Label('BULKP', (12.6,0.88), layer=67, texttype=5))
sunsar_sarcmphx1_cv.add(gdstk.Label('BULKN', (0,0.88), layer=67, texttype=5))
sunsar_sarcmphx1_cv.add(gdstk.Label('AVDD', (8.2,3.52), layer=70, texttype=5))
sunsar_sarcmphx1_cv.add(gdstk.Label('AVSS', (4.24,3.52), layer=70, texttype=5))

sunsar_sarcmpx1_cv = lib.new_cell('SUNSAR_SARCMPX1_CV')
R(sunsar_sarcmpx1_cv, li1_pin, [(1.62,6.87,2.7,7.21), (3.78,16.99,4.86,17.33), (3.78,21.39,4.86,21.73), (1.62,29.75,2.7,30.09), (1.62,43.83,2.7,44.17), (1.62,44.71,2.7,45.05), (1.62,46.47,2.7,46.81)])
R(sunsar_sarcmpx1_cv, li1, [(1.62,6.87,2.7,7.21), (0.98,7.75,2.16,8.09), (0.98,8.09,1.32,9.51), (0.98,9.51,2.16,9.85), (0.98,9.85,1.32,25.35), (3.14,13.47,4.32,13.81), (3.14,13.81,3.48,29.31), (8.28,14.35,9.46,14.69), (9.12,14.69,9.46,20.95), (3.78,16.99,4.86,17.33), (9.12,20.95,10.44,21.29), (9.12,21.29,9.46,28.87), (3.78,21.39,4.86,21.73), (0.98,25.35,2.16,25.69), (0.98,25.69,1.32,37.67), (9.12,28.87,10.44,29.21), (3.14,29.31,4.32,29.65), (1.62,29.75,2.7,30.09), (0.98,37.67,3.34,38.01), (3,38.01,3.34,39.87), (3,39.87,4.32,40.21), (2.16,41.19,3.48,41.53), (3.14,41.53,3.48,44.27), (9.12,42.07,10.44,42.41), (9.12,42.41,9.46,46.91), (1.62,43.83,2.7,44.17), (3.14,44.27,4.32,44.61), (1.62,44.71,2.7,45.05), (1.62,46.47,2.7,46.81), (8.28,46.91,9.46,47.25)])
R(sunsar_sarcmpx1_cv, met1, [(0.98,2.47,2.16,2.81), (0.98,2.81,1.32,32.39), (2.16,6.87,3.34,7.21), (3,7.21,3.34,10.39), (2.16,10.39,3.34,10.73), (9.12,13.91,10.44,14.25), (9.12,14.25,9.46,16.55), (9.12,16.55,10.44,16.89), (9.12,16.89,9.46,28.43), (8.28,28.43,9.46,28.77), (2.16,29.75,3.34,30.09), (3,30.09,3.34,33.27), (0.98,32.39,2.16,32.73), (0.98,32.73,1.32,39.43), (2.16,33.27,3.34,33.61), (0.98,39.43,3.34,39.77), (3,39.77,3.34,42.51), (3,42.51,4.32,42.85)])
R(sunsar_sarcmpx1_cv, met3_pin, [(3.78,0,4.7,49.28), (7.74,0,8.66,49.28)])
R(sunsar_sarcmpx1_cv, met3, [(3.78,0,4.7,49.28), (7.74,0,8.66,49.28)])
A(sunsar_sarcmpx1_cv, nsdm, 3.655, 1.665, 1.33, 0.19, 1, 3, 0, 7.04)
A(sunsar_sarcmpx1_cv, nsdm, 3.655, 24.545, 1.33, 0.19, 1, 3, 0, 7.04)
A(sunsar_sarcmpx1_cv, nsdm, 3.655, 40.385, 1.33, 0.19, 1, 3, 0, 2.64)
R(sunsar_sarcmpx1_cv, nsdm, [(3.655,20.145,4.985,20.335), (3.655,47.425,4.985,47.615)])
A(sunsar_sarcmpx1_cv, psdm, 7.615, 1.665, 1.33, 0.19, 1, 3, 0, 7.04)
A(sunsar_sarcmpx1_cv, psdm, 7.615, 24.545, 1.33, 0.19, 1, 3, 0, 7.04)
A(sunsar_sarcmpx1_cv, psdm, 7.615, 40.385, 1.33, 0.19, 1, 3, 0, 2.64)
R(sunsar_sarcmpx1_cv, psdm, [(7.615,20.145,8.945,20.335), (7.615,47.425,8.945,47.615)])
R(sunsar_sarcmpx1_cv, boundary, [(0,0,12.6,49.28)])
sunsar_sarcmpx1_cv.add(gdstk.Reference(sunsar_cut_m1m2_2x1, (3.78,42.51)))
sunsar_sarcmpx1_cv.add(gdstk.Reference(sunsar_cut_m1m2_2x1, (1.62,39.43)))
sunsar_sarcmpx1_cv.add(gdstk.Reference(sunsar_cut_m1m2_2x1, (1.62,39.43)))
sunsar_sarcmpx1_cv.add(gdstk.Reference(sunsar_cut_m1m2_2x1, (1.62,32.39)))
sunsar_sarcmpx1_cv.add(gdstk.Reference(sunsar_cut_m1m2_2x1, (1.62,2.47)))
sunsar_sarcmpx1_cv.add(gdstk.Reference(sunsar_cut_m1m2_2x1, (1.78,33.27)))
sunsar_sarcmpx1_cv.add(gdstk.Reference(sunsar_cut_m1m2_2x1, (1.78,29.75)))
sunsar_sarcmpx1_cv.add(gdstk.Reference(sunsar_cut_m1m2_2x1, (1.78,10.39)))
sunsar_sarcmpx1_cv.add(gdstk.Reference(sunsar_cut_m1m2_2x1, (1.78,6.87)))
sunsar_sarcmpx1_cv.add(gdstk.Reference(sunsar_cut_m1m2_2x1, (9.9,16.55)))
sunsar_sarcmpx1_cv.add(gdstk.Reference(sunsar_cut_m1m2_2x1, (9.9,13.91)))
sunsar_sarcmpx1_cv.add(gdstk.Reference(sunsar_cut_m1m2_2x1, (7.74,28.43)))
sunsar_sarcmpx1_cv.add(gdstk.Reference(sunsar_tapcellb_cv, (0,47.52)))
sunsar_sarcmpx1_cv.add(gdstk.Reference(sunsar_ivx1_cv, (0,45.76)))
sunsar_sarcmpx1_cv.add(gdstk.Reference(sunsar_nrx1_cv, (0,43.12)))
sunsar_sarcmpx1_cv.add(gdstk.Reference(sunsar_ndx1_cv, (0,40.48)))
sunsar_sarcmpx1_cv.add(gdstk.Reference(sunsar_ivx1_cv, (0,38.72)))
sunsar_sarcmpx1_cv.add(gdstk.Reference(sunsar_sarkickhx1_cv, (0,31.68)))
sunsar_sarcmpx1_cv.add(gdstk.Reference(sunsar_ivx4_cv, (0,20.24)))
sunsar_sarcmpx1_cv.add(gdstk.Reference(sunsar_sarcmphx1_cv, (0,24.64)))
sunsar_sarcmpx1_cv.add(gdstk.Reference(sunsar_ivx4_cv, (0,15.84)))
sunsar_sarcmpx1_cv.add(gdstk.Reference(sunsar_sarcmphx1_cv, (0,8.8)))
sunsar_sarcmpx1_cv.add(gdstk.Reference(sunsar_sarkickhx1_cv, (0,1.76)))
sunsar_sarcmpx1_cv.add(gdstk.Reference(sunsar_tapcellb_cv, (0,0)))
sunsar_sarcmpx1_cv.add(gdstk.Label('CPI', (2.16,7.04), layer=67, texttype=5))
sunsar_sarcmpx1_cv.add(gdstk.Label('CNI', (2.16,29.92), layer=67, texttype=5))
sunsar_sarcmpx1_cv.add(gdstk.Label('CPO', (4.32,17.16), layer=67, texttype=5))
sunsar_sarcmpx1_cv.add(gdstk.Label('CNO', (4.32,21.56), layer=67, texttype=5))
sunsar_sarcmpx1_cv.add(gdstk.Label('CK_CMP', (2.16,46.64), layer=67, texttype=5))
sunsar_sarcmpx1_cv.add(gdstk.Label('CK_SAMPLE', (2.16,44), layer=67, texttype=5))
sunsar_sarcmpx1_cv.add(gdstk.Label('DONE', (2.16,44.88), layer=67, texttype=5))
sunsar_sarcmpx1_cv.add(gdstk.Label('AVDD', (8.2,24.64), layer=70, texttype=5))
sunsar_sarcmpx1_cv.add(gdstk.Label('AVSS', (4.24,24.64), layer=70, texttype=5))

lib.write_gds('SUNSAR_SARCMPX1_CV.gds')
